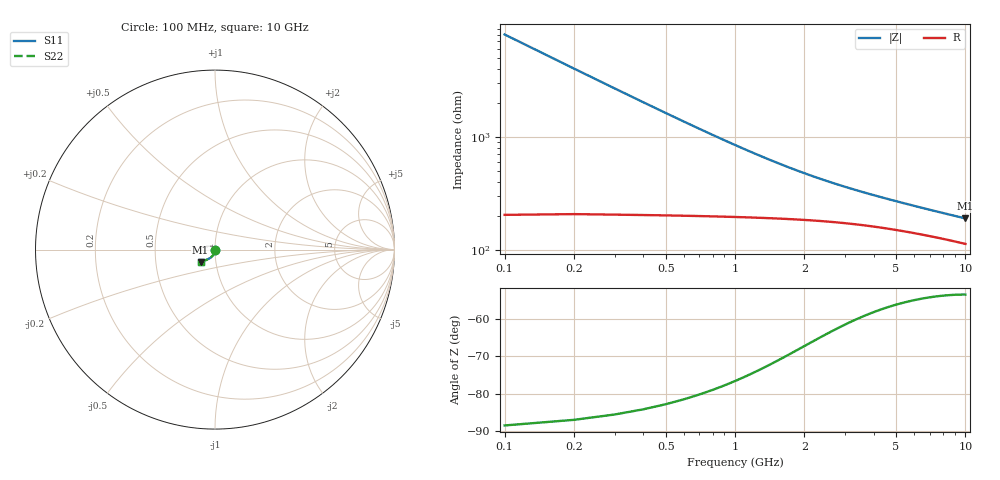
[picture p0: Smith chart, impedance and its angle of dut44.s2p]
! Touchstone file exported from HFSS 2024.1.0
!  File:  C:/UserFiles/LocalFiles/RDL_TSV_Batchsim/temp_TSV1_44_1778764296.aedt
!  Generated:  09:15:32 PM May 14, 2026
!  Design:  TSV1
!  Project:  temp_TSV1_44_1778764296
!  Setup:  Setup1
!  Solution:  Sweep
! Variables:
!  dtsv = 19.11um
!  hbump = 3um
!  htsv = 85.68um
!  lrdl = 252.1521522um
!  p = 40
!  p1 = 44.81um
!  t = 500um
!  trdl = 3um
!  wrdl = 24.89489489um
# GHz S MA R 50.000000
! Terminal data exported
! Port[1] = TSV22_T1
! Port[2] = TSV22_T2
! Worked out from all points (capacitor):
!   100 points, 100 MHz to 10 GHz, reference 50 ohm
!   read as one part in shunt: C = 198 fF near 100 MHz
!   lowest |Z| = 190 ohm at 10 GHz (marker M1)
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0.1  0.002843 -90.0  0.9998 -0.2  0.9998 -0.2  0.002843 -90.0
! Gamma 0 0 0 0
! Port Impedance 50 0 50 0
0.2  0.005711 -92.6  0.9996 -0.4  0.9996 -0.4  0.005711 -92.6
0.3  0.008552 -94.5  0.9991 -0.6  0.9991 -0.6  0.008552 -94.5
0.4  0.01136 -96.2  0.9985 -0.8  0.9985 -0.8  0.01136 -96.2
0.5  0.01412 -97.9  0.9978 -0.9  0.9978 -0.9  0.01412 -97.9
0.6  0.01684 -99.5  0.9969 -1.1  0.9969 -1.1  0.01684 -99.5
0.7  0.01949 -101.0  0.996 -1.3  0.996 -1.3  0.01949 -101.0
0.8  0.02209 -102.6  0.9949 -1.4  0.9949 -1.4  0.02209 -102.6
0.9  0.02461 -104.0  0.9938 -1.6  0.9938 -1.6  0.02461 -104.0
1.1  0.02944 -106.8  0.9913 -1.9  0.9913 -1.9  0.02944 -106.8
1.4  0.03609 -110.7  0.9872 -2.3  0.9872 -2.3  0.03609 -110.7
1.6  0.04013 -113.0  0.9844 -2.5  0.9844 -2.5  0.04013 -113.0
1.8  0.04388 -115.1  0.9816 -2.8  0.9816 -2.8  0.04388 -115.1
2.1  0.04898 -117.9  0.9774 -3.0  0.9774 -3.0  0.04898 -117.9
2.5  0.05493 -121.1  0.9722 -3.4  0.9722 -3.4  0.05493 -121.1
2.9  0.0601 -123.7  0.9674 -3.7  0.9674 -3.7  0.0601 -123.7
3.4  0.06572 -126.4  0.962 -4.0  0.962 -4.0  0.06572 -126.4
4.2  0.07329 -129.5  0.9546 -4.4  0.9546 -4.4  0.0733 -129.5
5.1  0.08043 -132.1  0.9477 -4.8  0.9477 -4.8  0.08043 -132.1
6.7  0.09084 -135.1  0.9379 -5.5  0.9379 -5.5  0.09084 -135.1
8.4  0.09983 -137.2  0.9297 -6.2  0.9297 -6.2  0.09983 -137.2
10  0.107 -138.5  0.9234 -6.8  0.9234 -6.8  0.107 -138.5
